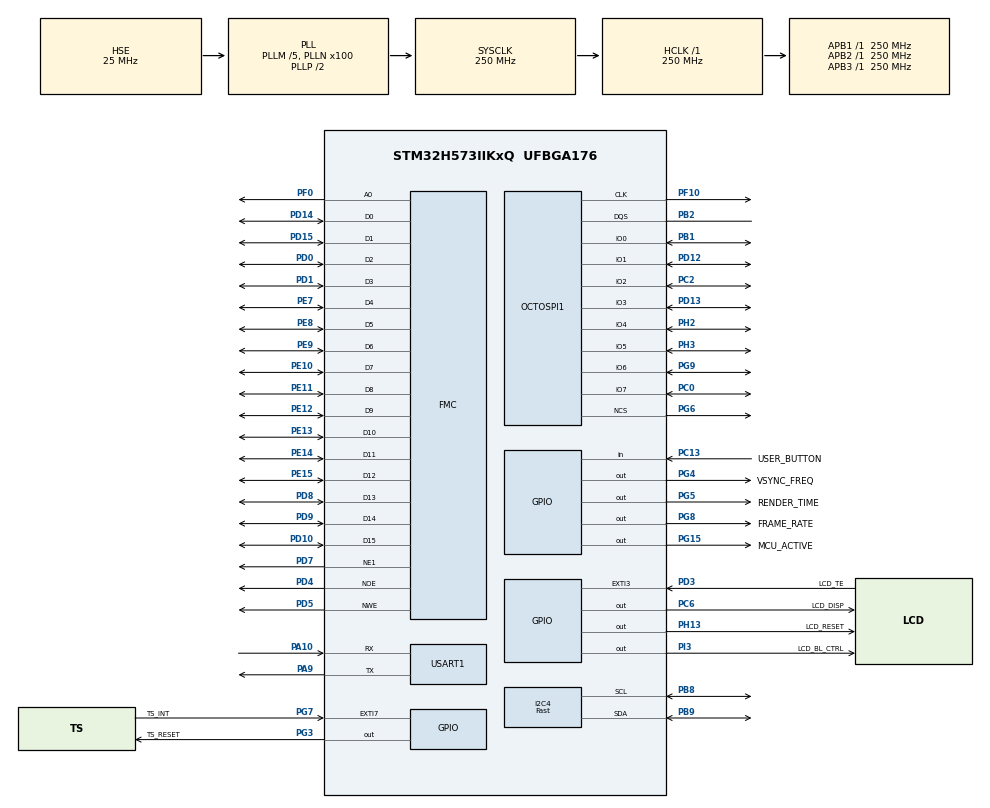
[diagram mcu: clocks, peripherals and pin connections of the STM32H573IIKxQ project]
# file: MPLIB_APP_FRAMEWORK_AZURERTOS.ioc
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BOOTPATH.BootPathName=LEGACY
BOOTPATH.UserSelectedBootPath=LEGACY
CORTEX_M33_NS.AccessPermission-Cortex_Memory_Protection_Unit_Region0_Settings=MPU_REGION_ALL_RW
CORTEX_M33_NS.Attributes0=MPU_ATTRIBUTES_NUMBER0
CORTEX_M33_NS.AttributesIndex-Cortex_Memory_Protection_Unit_RegionCortex_Memory_Protection_Unit_Region0_Settings_Settings=MPU_ATTRIBUTES_NUMBER0
CORTEX_M33_NS.BaseAddress-Cortex_Memory_Protection_Unit_Region0_Settings=0x60000000
CORTEX_M33_NS.CacheableAttribute-Cortex_Memory_Protection_Unit_Region0_Settings=MPU_NOT_CACHEABLE
CORTEX_M33_NS.DisableExec-Cortex_Memory_Protection_Unit_Region0_Settings=MPU_INSTRUCTION_ACCESS_DISABLE
CORTEX_M33_NS.Enable-Cortex_Memory_Protection_Unit_Region0_Settings=MPU_REGION_ENABLE
CORTEX_M33_NS.LimitAddress-Cortex_Memory_Protection_Unit_Region0_Settings=0x60000004
CORTEX_M33_NS.MPU_Control=MPU_PRIVILEGED_DEFAULT
CORTEX_M33_NS.Memorytype0=MPU_DEVICE
CORTEX_M33_NS.userName=CORTEX_M33
DCACHE1.DCACHE_Read_Burst_Type=DCACHE_READ_BURST_INCR
FMC.AddressSetupTime1=10
FMC.BusTurnAroundDuration1=4
FMC.DataHoldTime1=2
FMC.DataSetupTime1=7
FMC.ExtendedMode1=FMC_EXTENDED_MODE_DISABLE
FMC.WriteFifo1=FMC_WRITE_FIFO_DISABLE
GPDMA2.PRIORITY_LL_GPDMACH6=DMA_HIGH_PRIORITY
I2C4.I2C_Speed_Mode=I2C_Fast
I2C4.Timing=0x10C043E5
Mcu.Family=STM32H5
Mcu.Name=STM32H573IIKxQ
Mcu.Package=UFBGA176
NVIC.EXTI3_IRQn=true\:0\:0\:false\:false\:true\:false\:true\:true\:true
NVIC.EXTI7_IRQn=true\:0\:0\:false\:false\:true\:false\:true\:true\:true
NVIC.GPDMA2_Channel6_IRQn=true\:0\:0\:false\:false\:true\:false\:true\:true\:true
NVIC.PriorityGroup=NVIC_PRIORITYGROUP_4
NVIC.TIM6_IRQn=true\:15\:0\:false\:false\:true\:false\:false\:true\:true
NVIC.TimeBase=TIM6_IRQn
NVIC.TimeBaseIP=TIM6
OCTOSPI1.ChipSelectHighTimeCycle=2
OCTOSPI1.ClockPrescaler=1
OCTOSPI1.DelayBlockBypass=HAL_XSPI_DELAY_BLOCK_ON
OCTOSPI1.DelayHoldQuarterCycle=HAL_XSPI_DHQC_ENABLE
OCTOSPI1.MemorySize=HAL_XSPI_SIZE_64MB
OCTOSPI1.MemoryType=HAL_XSPI_MEMTYPE_MACRONIX
PA10.Mode=Asynchronous
PA10.Signal=USART1_RX
PA9.Mode=Asynchronous
PA9.Signal=USART1_TX
PB1.Mode=OCTOSPI1_IO_Octo
PB1.Signal=OCTOSPI1_IO0
PB2.Mode=octods_mode
PB2.Signal=OCTOSPI1_DQS
PB8.GPIO_FM8=SBS_FASTMODEPLUS_PB8
PB8.GPIO_Speed=GPIO_SPEED_FREQ_VERY_HIGH
PB8.Mode=I2C
PB8.Signal=I2C4_SCL
PB9.GPIO_FM9=SBS_FASTMODEPLUS_PB9
PB9.GPIO_Speed=GPIO_SPEED_FREQ_VERY_HIGH
PB9.Mode=I2C
PB9.Signal=I2C4_SDA
PC0.Mode=OCTOSPI1_IO_Octo
PC0.Signal=OCTOSPI1_IO7
PC13.GPIO_Label=USER_BUTTON
PC13.Signal=GPIO_Input
PC2.Mode=OCTOSPI1_IO_Octo
PC2.Signal=OCTOSPI1_IO2
PC6.GPIO_Label=LCD_DISP
PC6.PinState=GPIO_PIN_RESET
PC6.Signal=GPIO_Output
PD0.Signal=FMC_D2_DA2
PD1.Signal=FMC_D3_DA3
PD10.Signal=FMC_D15_DA15
PD12.Mode=OCTOSPI1_IO_Octo
PD12.Signal=OCTOSPI1_IO1
PD13.Mode=OCTOSPI1_IO_Octo
PD13.Signal=OCTOSPI1_IO3
PD14.Signal=FMC_D0_DA0
PD15.Signal=FMC_D1_DA1
PD3.GPIO_Label=LCD_TE
PD3.GPIO_ModeDefaultEXTI=GPIO_MODE_IT_RISING_FALLING
PD3.Signal=GPXTI3
PD4.Signal=FMC_NOE
PD5.Signal=FMC_NWE
PD7.Mode=NorPsramChipSelect1_1
PD7.Signal=FMC_NE1
PD8.Signal=FMC_D13_DA13
PD9.Signal=FMC_D14_DA14
PE10.Signal=FMC_D7_DA7
PE11.Signal=FMC_D8_DA8
PE12.Signal=FMC_D9_DA9
PE13.Signal=FMC_D10_DA10
PE14.Signal=FMC_D11_DA11
PE15.Signal=FMC_D12_DA12
PE7.Signal=FMC_D4_DA4
PE8.Signal=FMC_D5_DA5
PE9.Signal=FMC_D6_DA6
PF0.Signal=FMC_A0
PF10.Mode=octods_mode
PF10.Signal=OCTOSPI1_CLK
PG15.GPIO_Label=MCU_ACTIVE
PG15.GPIO_Speed=GPIO_SPEED_FREQ_VERY_HIGH
PG15.Signal=GPIO_Output
PG3.GPIO_Label=TS_RESET
PG3.Signal=GPIO_Output
PG4.GPIO_Label=VSYNC_FREQ
PG4.GPIO_Speed=GPIO_SPEED_FREQ_VERY_HIGH
PG4.Signal=GPIO_Output
PG5.GPIO_Label=RENDER_TIME
PG5.GPIO_Speed=GPIO_SPEED_FREQ_VERY_HIGH
PG5.Signal=GPIO_Output
PG6.Mode=octods_mode
PG6.Signal=OCTOSPI1_NCS
PG7.GPIO_Label=TS_INT
PG7.GPIO_ModeDefaultEXTI=GPIO_MODE_IT_FALLING
PG7.Signal=GPXTI7
PG8.GPIO_Label=FRAME_RATE
PG8.Signal=GPIO_Output
PG9.Mode=OCTOSPI1_IO_Octo
PG9.Signal=OCTOSPI1_IO6
PH0-OSC_IN(PH0).Mode=HSE-External-Clock-Source
PH0-OSC_IN(PH0).Signal=RCC_OSC_IN
PH13.GPIO_Label=LCD_RESET
PH13.PinState=GPIO_PIN_SET
PH13.Signal=GPIO_Output
PH2.Mode=OCTOSPI1_IO_Octo
PH2.Signal=OCTOSPI1_IO4
PH3.Mode=OCTOSPI1_IO_Octo
PH3.Signal=OCTOSPI1_IO5
PI3.GPIO_Label=LCD_BL_CTRL
PI3.GPIO_ModeDefaultOutputPP=GPIO_MODE_OUTPUT_PP
PI3.GPIO_PuPd=GPIO_NOPULL
PI3.PinState=GPIO_PIN_SET
PI3.Signal=GPIO_Output
ProjectManager.HeapSize=0x800
ProjectManager.StackSize=0x1000
ProjectManager.TargetToolchain=STM32CubeIDE
RCC.ADCFreq_Value=250000000
RCC.AHBFreq_Value=250000000
RCC.APB1Freq_Value=250000000
RCC.APB1TimFreq_Value=250000000
RCC.APB2Freq_Value=250000000
RCC.APB2TimFreq_Value=250000000
RCC.APB3Freq_Value=250000000
RCC.CSI_VALUE=4000000
RCC.CortexFreq_Value=250000000
RCC.EPOD_VALUE=25000000
RCC.HCLKFreq_Value=250000000
RCC.HSE_VALUE=25000000
RCC.HSI48_VALUE=48000000
RCC.HSIDiv=RCC_HSI_DIV1
RCC.HSI_VALUE=64000000
RCC.LSE_VALUE=32768
RCC.LSIRC_VALUE=32000
RCC.OCTOSPIMCLockSelection=RCC_OSPICLKSOURCE_PLL2R
RCC.PLL1Q=4
RCC.PLL2M=5
RCC.PLL2N=50
RCC.PLL2R=1
RCC.PLL2Source=RCC_PLL2_SOURCE_HSE
RCC.PLLFRACN=0
RCC.PLLM=5
RCC.PLLN=100
RCC.PLLSourceVirtual=RCC_PLL1_SOURCE_HSE
RCC.SYSCLKFreq_VALUE=250000000
RCC.SYSCLKSource=RCC_SYSCLKSOURCE_PLLCLK
RCC.USBFreq_Value=48000000
RCC.VCOOutputFreq_Value=500000000
SH.FMC_A0.0=FMC_A0,A0_1
SH.FMC_D0_DA0.0=FMC_D0,16b-d1
SH.FMC_D10_DA10.0=FMC_D10,16b-d1
SH.FMC_D11_DA11.0=FMC_D11,16b-d1
SH.FMC_D12_DA12.0=FMC_D12,16b-d1
SH.FMC_D13_DA13.0=FMC_D13,16b-d1
SH.FMC_D14_DA14.0=FMC_D14,16b-d1
SH.FMC_D15_DA15.0=FMC_D15,16b-d1
SH.FMC_D1_DA1.0=FMC_D1,16b-d1
SH.FMC_D2_DA2.0=FMC_D2,16b-d1
SH.FMC_D3_DA3.0=FMC_D3,16b-d1
SH.FMC_D4_DA4.0=FMC_D4,16b-d1
SH.FMC_D5_DA5.0=FMC_D5,16b-d1
SH.FMC_D6_DA6.0=FMC_D6,16b-d1
SH.FMC_D7_DA7.0=FMC_D7,16b-d1
SH.FMC_D8_DA8.0=FMC_D8,16b-d1
SH.FMC_D9_DA9.0=FMC_D9,16b-d1
SH.FMC_NOE.0=FMC_NOE,Lcd1
SH.FMC_NWE.0=FMC_NWE,Lcd1
STMicroelectronics.X-CUBE-FREERTOS.1.0.1.configENABLE_FPU=1
STMicroelectronics.X-CUBE-FREERTOS.1.0.1.configTOTAL_HEAP_SIZE=50000
STMicroelectronics.X-CUBE-FREERTOS.1.0.1.configUSE_APPLICATION_TASK_TAG=1
STMicroelectronics.X-CUBE-FREERTOS.1.0.1.configUSE_IDLE_HOOK=1
STMicroelectronics.X-CUBE-TOUCHGFX.4.25.0.ApplicationCcGraphicsJjApplication=TouchGFXOoGenerator
STMicroelectronics.X-CUBE-TOUCHGFX.4.25.0.tgfx_buffering_strategy=Double
STMicroelectronics.X-CUBE-TOUCHGFX.4.25.0.tgfx_custom_height=240
STMicroelectronics.X-CUBE-TOUCHGFX.4.25.0.tgfx_custom_width=240
STMicroelectronics.X-CUBE-TOUCHGFX.4.25.0.tgfx_display_interface=disp_fmc
STMicroelectronics.X-CUBE-TOUCHGFX.4.25.0.tgfx_oswrapper=ThreadX
STMicroelectronics.X-CUBE-TOUCHGFX.4.25.0.tgfx_vector_fonts=Enabled
STMicroelectronics.X-CUBE-TOUCHGFX.4.25.0.tgfx_vector_rendering=Software
STMicroelectronics.X-CUBE-TOUCHGFX.4.25.0_IsPackSelfContextualization=true
THREADX.TX_APP_CREATION=1
THREADX.TX_APP_GENERATE_INIT_CODE=true
THREADX.TX_APP_MEM_POOL_SIZE=3*1024
THREADX.TX_APP_THREAD_ENTRY=StartDefaultTask
THREADX.TX_THREAD_USER_EXTENSION=\ /*Hello*/
USART1.VirtualMode-Asynchronous=VM_ASYNC
VP_BOOTPATH_VS_BOOTPATH.Mode=BP_Activate
VP_CORTEX_M33_NS_VS_Hclk.Mode=Hclk_Mode
VP_CRC_VS_CRC.Mode=CRC_Activate
VP_DCACHE1_VS_DCACHE.Mode=DCACHE_Activate
VP_GPDMA2_VS_GPDMACH6.Mode=LINKEDLIST_GPDMACH6
VP_ICACHE_VS_ICACHE.Mode=DefaultMode
VP_MEMORYMAP_VS_MEMORYMAP.Mode=CurAppReg
VP_PWR_VS_LPOM.Mode=PowerOptimisation
VP_PWR_VS_SECSignals.Mode=Security/Privilege
VP_STMicroelectronics.X-CUBE-TOUCHGFX_VS_GraphicsJjApplication_4.25.0.Mode=GraphicsJjApplication
VP_SYS_VS_tim6.Mode=TIM6
VP_THREADX_VS_RTOSJjThreadXJjCoreJjDefault.Mode=Core_Default
board=custom

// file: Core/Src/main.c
/* USER CODE BEGIN Header */
/**
  ******************************************************************************
  * @file           : main.c
  * @brief          : Main program body
  ******************************************************************************
  * @attention
  *
  * Copyright (c) 2023 STMicroelectronics.
  * All rights reserved.
  *
  * This software is licensed under terms that can be found in the LICENSE file
  * in the root directory of this software component.
  * If no LICENSE file comes with this software, it is provided AS-IS.
  *
  ******************************************************************************
  */
/* USER CODE END Header */
#include "app_threadx.h"
#include "main.h"
#include "app_touchgfx.h"

/* USER CODE BEGIN Includes */
#include "../../BSP/Components/mx25lm51245g/mx25lm51245g.h"
#include "stdio.h"
/* USER CODE END Includes */

CRC_HandleTypeDef hcrc;

DCACHE_HandleTypeDef hdcache1;

DMA_HandleTypeDef handle_GPDMA2_Channel6;

I2C_HandleTypeDef hi2c4;

XSPI_HandleTypeDef hospi1;

UART_HandleTypeDef huart1;

SRAM_HandleTypeDef hsram1;

void SystemClock_Config(void);
static void MPU_Config(void);
static void MX_GPIO_Init(void);
static void MX_GPDMA2_Init(void);
static void MX_CRC_Init(void);
static void MX_ICACHE_Init(void);
static void MX_I2C4_Init(void);
static void MX_FMC_Init(void);
static void MX_OCTOSPI1_Init(void);
static void MX_DCACHE1_Init(void);
static void MX_USART1_UART_Init(void);
/* USER CODE BEGIN PFP */
#define PUTCHAR_PROTOTYPE int __io_putchar(int ch)
void resetTouch(void);
/* USER CODE END PFP */

int main(void)
{

  /* MCU Configuration--------------------------------------------------------*/

  /* MPU Configuration--------------------------------------------------------*/
  MPU_Config();

  /* Reset of all peripherals, Initializes the Flash interface and the Systick. */
  HAL_Init();

  /* Configure the system clock */
  SystemClock_Config();

  /* USER CODE BEGIN SysInit */
  SystemCoreClockUpdate();
  BSP_LED_Init(LED4);
  BSP_LED_Init(LED3);
  BSP_LED_Init(LED2);
  BSP_LED_Init(LED1);
  /* USER CODE END SysInit */

  /* Initialize all configured peripherals */
  MX_GPIO_Init();
  MX_GPDMA2_Init();
  MX_CRC_Init();
  MX_ICACHE_Init();
  MX_I2C4_Init();
  MX_FMC_Init();
  MX_OCTOSPI1_Init();
  MX_DCACHE1_Init();
  MX_USART1_UART_Init();
  /* Call PreOsInit function */
  MX_TouchGFX_PreOSInit();
  /* USER CODE BEGIN 2 */
  printf("MAIN ON\n");
  HAL_Delay(500);
  BSP_LED_On(LED1);
  HAL_Delay(500);
  BSP_LED_On(LED2);
  HAL_Delay(500);
  BSP_LED_On(LED3);
  HAL_Delay(500);
  BSP_LED_On(LED4);
  /* USER CODE END 2 */

  MX_ThreadX_Init();

  /* We should never get here as control is now taken by the scheduler */

  /* Infinite loop */
  while (1)
  {

  }
}

void SystemClock_Config(void)
{
  RCC_OscInitTypeDef RCC_OscInitStruct = {0};
  RCC_ClkInitTypeDef RCC_ClkInitStruct = {0};

  /** Configure the main internal regulator output voltage
  */
  __HAL_PWR_VOLTAGESCALING_CONFIG(PWR_REGULATOR_VOLTAGE_SCALE0);

  while(!__HAL_PWR_GET_FLAG(PWR_FLAG_VOSRDY)) {}

  /** Initializes the RCC Oscillators according to the specified parameters
  * in the RCC_OscInitTypeDef structure.
  */
  RCC_OscInitStruct.OscillatorType = RCC_OSCILLATORTYPE_HSE;
  RCC_OscInitStruct.HSEState = RCC_HSE_BYPASS;
  RCC_OscInitStruct.PLL.PLLState = RCC_PLL_ON;
  RCC_OscInitStruct.PLL.PLLSource = RCC_PLL1_SOURCE_HSE;
  RCC_OscInitStruct.PLL.PLLM = 5;
  RCC_OscInitStruct.PLL.PLLN = 100;
  RCC_OscInitStruct.PLL.PLLP = 2;
  RCC_OscInitStruct.PLL.PLLQ = 4;
  RCC_OscInitStruct.PLL.PLLR = 2;
  RCC_OscInitStruct.PLL.PLLRGE = RCC_PLL1_VCIRANGE_2;
  RCC_OscInitStruct.PLL.PLLVCOSEL = RCC_PLL1_VCORANGE_WIDE;
  RCC_OscInitStruct.PLL.PLLFRACN = 0;
  if (HAL_RCC_OscConfig(&RCC_OscInitStruct) != HAL_OK)
  {
    Error_Handler();
  }

  /** Initializes the CPU, AHB and APB buses clocks
  */
  RCC_ClkInitStruct.ClockType = RCC_CLOCKTYPE_HCLK|RCC_CLOCKTYPE_SYSCLK
                              |RCC_CLOCKTYPE_PCLK1|RCC_CLOCKTYPE_PCLK2
                              |RCC_CLOCKTYPE_PCLK3;
  RCC_ClkInitStruct.SYSCLKSource = RCC_SYSCLKSOURCE_PLLCLK;
  RCC_ClkInitStruct.AHBCLKDivider = RCC_SYSCLK_DIV1;
  RCC_ClkInitStruct.APB1CLKDivider = RCC_HCLK_DIV1;
  RCC_ClkInitStruct.APB2CLKDivider = RCC_HCLK_DIV1;
  RCC_ClkInitStruct.APB3CLKDivider = RCC_HCLK_DIV1;

  if (HAL_RCC_ClockConfig(&RCC_ClkInitStruct, FLASH_LATENCY_5) != HAL_OK)
  {
    Error_Handler();
  }

  /** Configure the programming delay
  */
  __HAL_FLASH_SET_PROGRAM_DELAY(FLASH_PROGRAMMING_DELAY_2);
}

static void MX_CRC_Init(void)
{

  hcrc.Instance = CRC;
  hcrc.Init.DefaultPolynomialUse = DEFAULT_POLYNOMIAL_ENABLE;
  hcrc.Init.DefaultInitValueUse = DEFAULT_INIT_VALUE_ENABLE;
  hcrc.Init.InputDataInversionMode = CRC_INPUTDATA_INVERSION_NONE;
  hcrc.Init.OutputDataInversionMode = CRC_OUTPUTDATA_INVERSION_DISABLE;
  hcrc.InputDataFormat = CRC_INPUTDATA_FORMAT_BYTES;
  if (HAL_CRC_Init(&hcrc) != HAL_OK)
  {
    Error_Handler();
  }

}

static void MX_DCACHE1_Init(void)
{

  hdcache1.Instance = DCACHE1;
  hdcache1.Init.ReadBurstType = DCACHE_READ_BURST_INCR;
  if (HAL_DCACHE_Init(&hdcache1) != HAL_OK)
  {
    Error_Handler();
  }

}

static void MX_GPDMA2_Init(void)
{

  /* Peripheral clock enable */
  __HAL_RCC_GPDMA2_CLK_ENABLE();

  /* GPDMA2 interrupt Init */
    HAL_NVIC_SetPriority(GPDMA2_Channel6_IRQn, 0, 0);
    HAL_NVIC_EnableIRQ(GPDMA2_Channel6_IRQn);

  handle_GPDMA2_Channel6.Instance = GPDMA2_Channel6;
  handle_GPDMA2_Channel6.InitLinkedList.Priority = DMA_HIGH_PRIORITY;
  handle_GPDMA2_Channel6.InitLinkedList.LinkStepMode = DMA_LSM_FULL_EXECUTION;
  handle_GPDMA2_Channel6.InitLinkedList.LinkAllocatedPort = DMA_LINK_ALLOCATED_PORT0;
  handle_GPDMA2_Channel6.InitLinkedList.TransferEventMode = DMA_TCEM_LAST_LL_ITEM_TRANSFER;
  handle_GPDMA2_Channel6.InitLinkedList.LinkedListMode = DMA_LINKEDLIST_NORMAL;
  if (HAL_DMAEx_List_Init(&handle_GPDMA2_Channel6) != HAL_OK)
  {
    Error_Handler();
  }
  if (HAL_DMA_ConfigChannelAttributes(&handle_GPDMA2_Channel6, DMA_CHANNEL_NPRIV) != HAL_OK)
  {
    Error_Handler();
  }

}

static void MX_I2C4_Init(void)
{

  hi2c4.Instance = I2C4;
  hi2c4.Init.Timing = 0x10C043E5;
  hi2c4.Init.OwnAddress1 = 0;
  hi2c4.Init.AddressingMode = I2C_ADDRESSINGMODE_7BIT;
  hi2c4.Init.DualAddressMode = I2C_DUALADDRESS_DISABLE;
  hi2c4.Init.OwnAddress2 = 0;
  hi2c4.Init.OwnAddress2Masks = I2C_OA2_NOMASK;
  hi2c4.Init.GeneralCallMode = I2C_GENERALCALL_DISABLE;
  hi2c4.Init.NoStretchMode = I2C_NOSTRETCH_DISABLE;
  if (HAL_I2C_Init(&hi2c4) != HAL_OK)
  {
    Error_Handler();
  }

  /** Configure Analogue filter
  */
  if (HAL_I2CEx_ConfigAnalogFilter(&hi2c4, I2C_ANALOGFILTER_ENABLE) != HAL_OK)
  {
    Error_Handler();
  }

  /** Configure Digital filter
  */
  if (HAL_I2CEx_ConfigDigitalFilter(&hi2c4, 0) != HAL_OK)
  {
    Error_Handler();
  }

}

static void MX_ICACHE_Init(void)
{

  /** Enable instruction cache (default 2-ways set associative cache)
  */
  if (HAL_ICACHE_Enable() != HAL_OK)
  {
    Error_Handler();
  }

}

static void MX_OCTOSPI1_Init(void)
{

  HAL_XSPI_DLYB_CfgTypeDef HAL_OSPI_DLYB_Cfg_Struct = {0};

  /* OCTOSPI1 parameter configuration*/
  hospi1.Instance = OCTOSPI1;
  hospi1.Init.FifoThresholdByte = 1;
  hospi1.Init.MemoryMode = HAL_XSPI_SINGLE_MEM;
  hospi1.Init.MemoryType = HAL_XSPI_MEMTYPE_MACRONIX;
  hospi1.Init.MemorySize = HAL_XSPI_SIZE_64MB;
  hospi1.Init.ChipSelectHighTimeCycle = 2;
  hospi1.Init.FreeRunningClock = HAL_XSPI_FREERUNCLK_DISABLE;
  hospi1.Init.ClockMode = HAL_XSPI_CLOCK_MODE_0;
  hospi1.Init.WrapSize = HAL_XSPI_WRAP_NOT_SUPPORTED;
  hospi1.Init.ClockPrescaler = 1;
  hospi1.Init.SampleShifting = HAL_XSPI_SAMPLE_SHIFT_NONE;
  hospi1.Init.DelayHoldQuarterCycle = HAL_XSPI_DHQC_ENABLE;
  hospi1.Init.ChipSelectBoundary = HAL_XSPI_BONDARYOF_NONE;
  hospi1.Init.DelayBlockBypass = HAL_XSPI_DELAY_BLOCK_ON;
  hospi1.Init.Refresh = 0;
  if (HAL_XSPI_Init(&hospi1) != HAL_OK)
  {
    Error_Handler();
  }
  HAL_OSPI_DLYB_Cfg_Struct.Units = 0;
  HAL_OSPI_DLYB_Cfg_Struct.PhaseSel = 0;
  if (HAL_XSPI_DLYB_SetConfig(&hospi1, &HAL_OSPI_DLYB_Cfg_Struct) != HAL_OK)
  {
    Error_Handler();
  }
  /* USER CODE BEGIN OCTOSPI1_Init 2 */

  // Reset flash
  MX25LM51245G_ResetEnable(&hospi1, MX25LM51245G_SPI_MODE, MX25LM51245G_STR_TRANSFER);
  MX25LM51245G_ResetMemory(&hospi1, MX25LM51245G_SPI_MODE, MX25LM51245G_STR_TRANSFER);
  HAL_Delay(MX25LM51245G_RESET_MAX_TIME);

  /* Enable write operations */
  MX25LM51245G_WriteEnable(&hospi1, MX25LM51245G_SPI_MODE, MX25LM51245G_STR_TRANSFER);

  /* Write Configuration register 2 (with new dummy cycles) */
  MX25LM51245G_WriteCfg2Register(&hospi1, MX25LM51245G_SPI_MODE, MX25LM51245G_STR_TRANSFER, MX25LM51245G_CR2_REG3_ADDR, MX25LM51245G_CR2_DC_14_CYCLES);

  /* Enable write operations */
  MX25LM51245G_WriteEnable(&hospi1, MX25LM51245G_SPI_MODE, MX25LM51245G_STR_TRANSFER);

  /* Write Configuration register 2 (with Octal I/O SPI protocol) */
  MX25LM51245G_WriteCfg2Register(&hospi1, MX25LM51245G_SPI_MODE, MX25LM51245G_STR_TRANSFER, MX25LM51245G_CR2_REG1_ADDR, MX25LM51245G_CR2_DOPI);

  /* Wait that the configuration is effective */
  HAL_Delay(MX25LM51245G_WRITE_REG_MAX_TIME);

  MX25LM51245G_EnableDTRMemoryMappedMode(&hospi1, MX25LM51245G_OPI_MODE);

  /* USER CODE END OCTOSPI1_Init 2 */

}

static void MX_USART1_UART_Init(void)
{

  huart1.Instance = USART1;
  huart1.Init.BaudRate = 115200;
  huart1.Init.WordLength = UART_WORDLENGTH_8B;
  huart1.Init.StopBits = UART_STOPBITS_1;
  huart1.Init.Parity = UART_PARITY_NONE;
  huart1.Init.Mode = UART_MODE_TX_RX;
  huart1.Init.HwFlowCtl = UART_HWCONTROL_NONE;
  huart1.Init.OverSampling = UART_OVERSAMPLING_16;
  huart1.Init.OneBitSampling = UART_ONE_BIT_SAMPLE_DISABLE;
  huart1.Init.ClockPrescaler = UART_PRESCALER_DIV1;
  huart1.AdvancedInit.AdvFeatureInit = UART_ADVFEATURE_NO_INIT;
  if (HAL_UART_Init(&huart1) != HAL_OK)
  {
    Error_Handler();
  }
  if (HAL_UARTEx_SetTxFifoThreshold(&huart1, UART_TXFIFO_THRESHOLD_1_8) != HAL_OK)
  {
    Error_Handler();
  }
  if (HAL_UARTEx_SetRxFifoThreshold(&huart1, UART_RXFIFO_THRESHOLD_1_8) != HAL_OK)
  {
    Error_Handler();
  }
  if (HAL_UARTEx_DisableFifoMode(&huart1) != HAL_OK)
  {
    Error_Handler();
  }

}

/* FMC initialization function */
static void MX_FMC_Init(void)
{

  FMC_NORSRAM_TimingTypeDef Timing = {0};

  /** Perform the SRAM1 memory initialization sequence
  */
  hsram1.Instance = FMC_NORSRAM_DEVICE;
  hsram1.Extended = FMC_NORSRAM_EXTENDED_DEVICE;
  /* hsram1.Init */
  hsram1.Init.NSBank = FMC_NORSRAM_BANK1;
  hsram1.Init.DataAddressMux = FMC_DATA_ADDRESS_MUX_DISABLE;
  hsram1.Init.MemoryType = FMC_MEMORY_TYPE_SRAM;
  hsram1.Init.MemoryDataWidth = FMC_NORSRAM_MEM_BUS_WIDTH_16;
  hsram1.Init.BurstAccessMode = FMC_BURST_ACCESS_MODE_DISABLE;
  hsram1.Init.WaitSignalPolarity = FMC_WAIT_SIGNAL_POLARITY_LOW;
  hsram1.Init.WaitSignalActive = FMC_WAIT_TIMING_BEFORE_WS;
  hsram1.Init.WriteOperation = FMC_WRITE_OPERATION_ENABLE;
  hsram1.Init.WaitSignal = FMC_WAIT_SIGNAL_DISABLE;
  hsram1.Init.ExtendedMode = FMC_EXTENDED_MODE_DISABLE;
  hsram1.Init.AsynchronousWait = FMC_ASYNCHRONOUS_WAIT_DISABLE;
  hsram1.Init.WriteBurst = FMC_WRITE_BURST_DISABLE;
  hsram1.Init.ContinuousClock = FMC_CONTINUOUS_CLOCK_SYNC_ONLY;
  hsram1.Init.WriteFifo = FMC_WRITE_FIFO_DISABLE;
  hsram1.Init.NBLSetupTime = 0;
  hsram1.Init.PageSize = FMC_PAGE_SIZE_NONE;
  hsram1.Init.MaxChipSelectPulse = DISABLE;
  /* Timing */
  Timing.AddressSetupTime = 10;
  Timing.AddressHoldTime = 15;
  Timing.DataSetupTime = 7;
  Timing.DataHoldTime = 2;
  Timing.BusTurnAroundDuration = 4;
  Timing.CLKDivision = 16;
  Timing.DataLatency = 17;
  Timing.AccessMode = FMC_ACCESS_MODE_A;
  /* ExtTiming */

  if (HAL_SRAM_Init(&hsram1, &Timing, NULL) != HAL_OK)
  {
    Error_Handler( );
  }

}

static void MX_GPIO_Init(void)
{
  GPIO_InitTypeDef GPIO_InitStruct = {0};

  /* GPIO Ports Clock Enable */
  __HAL_RCC_GPIOB_CLK_ENABLE();
  __HAL_RCC_GPIOG_CLK_ENABLE();
  __HAL_RCC_GPIOD_CLK_ENABLE();
  __HAL_RCC_GPIOI_CLK_ENABLE();
  __HAL_RCC_GPIOH_CLK_ENABLE();
  __HAL_RCC_GPIOC_CLK_ENABLE();
  __HAL_RCC_GPIOA_CLK_ENABLE();
  __HAL_RCC_GPIOF_CLK_ENABLE();
  __HAL_RCC_GPIOE_CLK_ENABLE();

  /*Configure GPIO pin Output Level */
  HAL_GPIO_WritePin(GPIOG, MCU_ACTIVE_Pin|FRAME_RATE_Pin|TS_RESET_Pin|RENDER_TIME_Pin
                          |VSYNC_FREQ_Pin, GPIO_PIN_RESET);

  /*Configure GPIO pin Output Level */
  HAL_GPIO_WritePin(LCD_BL_CTRL_GPIO_Port, LCD_BL_CTRL_Pin, GPIO_PIN_SET);

  /*Configure GPIO pin Output Level */
  HAL_GPIO_WritePin(LCD_RESET_GPIO_Port, LCD_RESET_Pin, GPIO_PIN_SET);

  /*Configure GPIO pin Output Level */
  HAL_GPIO_WritePin(LCD_DISP_GPIO_Port, LCD_DISP_Pin, GPIO_PIN_RESET);

  /*Configure GPIO pins : MCU_ACTIVE_Pin RENDER_TIME_Pin VSYNC_FREQ_Pin */
  GPIO_InitStruct.Pin = MCU_ACTIVE_Pin|RENDER_TIME_Pin|VSYNC_FREQ_Pin;
  GPIO_InitStruct.Mode = GPIO_MODE_OUTPUT_PP;
  GPIO_InitStruct.Pull = GPIO_NOPULL;
  GPIO_InitStruct.Speed = GPIO_SPEED_FREQ_VERY_HIGH;
  HAL_GPIO_Init(GPIOG, &GPIO_InitStruct);

  /*Configure GPIO pin : LCD_TE_Pin */
  GPIO_InitStruct.Pin = LCD_TE_Pin;
  GPIO_InitStruct.Mode = GPIO_MODE_IT_RISING_FALLING;
  GPIO_InitStruct.Pull = GPIO_NOPULL;
  HAL_GPIO_Init(LCD_TE_GPIO_Port, &GPIO_InitStruct);

  /*Configure GPIO pin : LCD_BL_CTRL_Pin */
  GPIO_InitStruct.Pin = LCD_BL_CTRL_Pin;
  GPIO_InitStruct.Mode = GPIO_MODE_OUTPUT_PP;
  GPIO_InitStruct.Pull = GPIO_NOPULL;
  GPIO_InitStruct.Speed = GPIO_SPEED_FREQ_LOW;
  HAL_GPIO_Init(LCD_BL_CTRL_GPIO_Port, &GPIO_InitStruct);

  /*Configure GPIO pin : LCD_RESET_Pin */
  GPIO_InitStruct.Pin = LCD_RESET_Pin;
  GPIO_InitStruct.Mode = GPIO_MODE_OUTPUT_PP;
  GPIO_InitStruct.Pull = GPIO_NOPULL;
  GPIO_InitStruct.Speed = GPIO_SPEED_FREQ_LOW;
  HAL_GPIO_Init(LCD_RESET_GPIO_Port, &GPIO_InitStruct);

  /*Configure GPIO pin : USER_BUTTON_Pin */
  GPIO_InitStruct.Pin = USER_BUTTON_Pin;
  GPIO_InitStruct.Mode = GPIO_MODE_INPUT;
  GPIO_InitStruct.Pull = GPIO_NOPULL;
  HAL_GPIO_Init(USER_BUTTON_GPIO_Port, &GPIO_InitStruct);

  /*Configure GPIO pin : LCD_DISP_Pin */
  GPIO_InitStruct.Pin = LCD_DISP_Pin;
  GPIO_InitStruct.Mode = GPIO_MODE_OUTPUT_PP;
  GPIO_InitStruct.Pull = GPIO_NOPULL;
  GPIO_InitStruct.Speed = GPIO_SPEED_FREQ_LOW;
  HAL_GPIO_Init(LCD_DISP_GPIO_Port, &GPIO_InitStruct);

  /*Configure GPIO pins : FRAME_RATE_Pin TS_RESET_Pin */
  GPIO_InitStruct.Pin = FRAME_RATE_Pin|TS_RESET_Pin;
  GPIO_InitStruct.Mode = GPIO_MODE_OUTPUT_PP;
  GPIO_InitStruct.Pull = GPIO_NOPULL;
  GPIO_InitStruct.Speed = GPIO_SPEED_FREQ_LOW;
  HAL_GPIO_Init(GPIOG, &GPIO_InitStruct);

  /*Configure GPIO pin : TS_INT_Pin */
  GPIO_InitStruct.Pin = TS_INT_Pin;
  GPIO_InitStruct.Mode = GPIO_MODE_IT_FALLING;
  GPIO_InitStruct.Pull = GPIO_NOPULL;
  HAL_GPIO_Init(TS_INT_GPIO_Port, &GPIO_InitStruct);

  /* EXTI interrupt init*/
  HAL_NVIC_SetPriority(EXTI3_IRQn, 0, 0);
  HAL_NVIC_EnableIRQ(EXTI3_IRQn);

  HAL_NVIC_SetPriority(EXTI7_IRQn, 0, 0);
  HAL_NVIC_EnableIRQ(EXTI7_IRQn);

  /* USER CODE BEGIN MX_GPIO_Init_2 */
// Disable screen tearing interrupt until OS has loaded
HAL_NVIC_DisableIRQ(EXTI3_IRQn);
resetTouch();
  /* USER CODE END MX_GPIO_Init_2 */
}

/* USER CODE BEGIN 4 */
/**
  * @brief  Retargets the C library printf function to the USART.
  *   None
  * @retval None
  */
PUTCHAR_PROTOTYPE
{
  /* Place your implementation of fputc here */
  /* e.g. write a character to the USART1 and Loop until the end of transmission */
  HAL_UART_Transmit(&huart1, (uint8_t *)&ch, 1, 0xFFFF);

  return ch;
}

void resetTouch(void)
{
  //Reset touch controller:
  HAL_GPIO_WritePin(TS_RESET_GPIO_Port, TS_RESET_Pin, GPIO_PIN_RESET);
  HAL_Delay(10);
  HAL_GPIO_WritePin(TS_RESET_GPIO_Port, TS_RESET_Pin, GPIO_PIN_SET);
  HAL_Delay(300);
}
/* USER CODE END 4 */

 /* MPU Configuration */

void MPU_Config(void)
{
  MPU_Region_InitTypeDef MPU_InitStruct = {0};
  MPU_Attributes_InitTypeDef MPU_AttributesInit = {0};

  /* Disables the MPU */
  HAL_MPU_Disable();

  /** Initializes and configures the Region 0 and the memory to be protected
  */
  MPU_InitStruct.Enable = MPU_REGION_ENABLE;
  MPU_InitStruct.Number = MPU_REGION_NUMBER0;
  MPU_InitStruct.BaseAddress = 0x60000000;
  MPU_InitStruct.LimitAddress = 0x60000004;
  MPU_InitStruct.AttributesIndex = MPU_ATTRIBUTES_NUMBER0;
  MPU_InitStruct.AccessPermission = MPU_REGION_ALL_RW;
  MPU_InitStruct.DisableExec = MPU_INSTRUCTION_ACCESS_DISABLE;
  MPU_InitStruct.IsShareable = MPU_ACCESS_NOT_SHAREABLE;

  HAL_MPU_ConfigRegion(&MPU_InitStruct);

  /** Initializes and configures the Attribute 0 and the memory to be protected
  */
  MPU_AttributesInit.Number = MPU_ATTRIBUTES_NUMBER0;
  MPU_AttributesInit.Attributes = MPU_DEVICE_nGnRnE;

  HAL_MPU_ConfigMemoryAttributes(&MPU_AttributesInit);
  /* Enables the MPU */
  HAL_MPU_Enable(MPU_PRIVILEGED_DEFAULT);

}

void HAL_TIM_PeriodElapsedCallback(TIM_HandleTypeDef *htim)
{
  if (htim->Instance == TIM6)
  {
    HAL_IncTick();
  }
}

void Error_Handler(void)
{
  __disable_irq();
  while (1)
  {
  }
}
